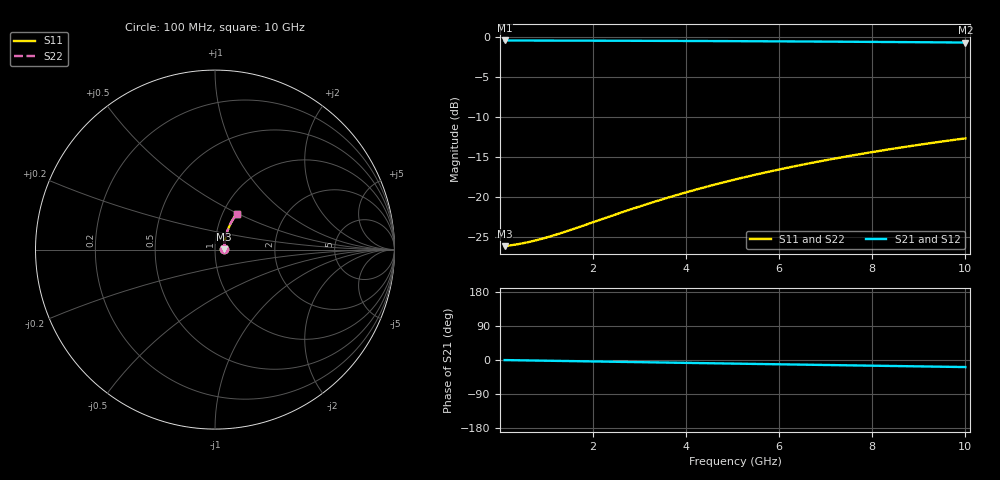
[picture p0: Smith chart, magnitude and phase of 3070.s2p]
# Hz S RI R 50.00
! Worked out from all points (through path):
!   100 points, 100 MHz to 10 GHz, reference 50 ohm
!   highest |S21| = -0.44 dB at 100 MHz (marker M1); lowest = -0.7 dB at 10 GHz (marker M2)
!   group delay of S21, straight-line fit = 5.18 ps
!   lowest |S11| = -26.2 dB at 100 MHz (marker M3), VSWR 1.10, Z = 55.2 + j0.243 ohm
!   |S11| at or under -10 dB: start of sweep to end of sweep
!   |S22| runs from -26.2 to -12.7 dB; largest |S21 - S12| = 0
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1e8  0.0492 0.00219  0.9508 -0.00316  0.9508 -0.00316  0.0492 0.00219
3e8  0.0498 0.00657  0.9502 -0.00946  0.9502 -0.00946  0.0498 0.00657
5e8  0.0502 0.0109  0.9498 -0.0158  0.9498 -0.0158  0.0502 0.0109
8e8  0.0509 0.0175  0.9491 -0.0252  0.9491 -0.0252  0.0509 0.0175
1e9  0.0513 0.0218  0.9486 -0.0315  0.9486 -0.0315  0.0513 0.0218
1.2e9  0.0518 0.0262  0.9481 -0.0377  0.9481 -0.0377  0.0518 0.0262
1.5e9  0.0526 0.0327  0.9473 -0.0471  0.9473 -0.0471  0.0526 0.0327
1.8e9  0.0535 0.0392  0.9463 -0.0565  0.9463 -0.0565  0.0535 0.0392
2.7e9  0.0568 0.0585  0.9428 -0.0845  0.9428 -0.0845  0.0568 0.0585
3.1e9  0.0587 0.067  0.9408 -0.0968  0.9408 -0.0968  0.0587 0.067
3.4e9  0.0602 0.0733  0.9393 -0.106  0.9393 -0.106  0.0602 0.0733
3.8e9  0.0624 0.0817  0.9369 -0.1183  0.9369 -0.1183  0.0624 0.0817
4.2e9  0.0648 0.09  0.9344 -0.1304  0.9344 -0.1304  0.0648 0.09
4.6e9  0.0674 0.0982  0.9316 -0.1425  0.9316 -0.1425  0.0674 0.0982
5.1e9  0.0709 0.1084  0.9278 -0.1575  0.9278 -0.1575  0.0709 0.1084
5.5e9  0.0739 0.1164  0.9246 -0.1694  0.9246 -0.1694  0.0739 0.1164
5.9e9  0.0772 0.1243  0.9211 -0.1812  0.9211 -0.1812  0.0772 0.1243
6.7e9  0.0843 0.1398  0.9135 -0.2044  0.9135 -0.2044  0.0843 0.1398
7.5e9  0.0921 0.1549  0.9052 -0.2272  0.9052 -0.2272  0.0921 0.1549
8.4e9  0.1018 0.1712  0.8948 -0.2522  0.8948 -0.2522  0.1018 0.1712
9.2e9  0.1111 0.1851  0.8848 -0.2739  0.8848 -0.2739  0.1111 0.1851
1e10  0.121 0.1984  0.8742 -0.2949  0.8742 -0.2949  0.121 0.1984
